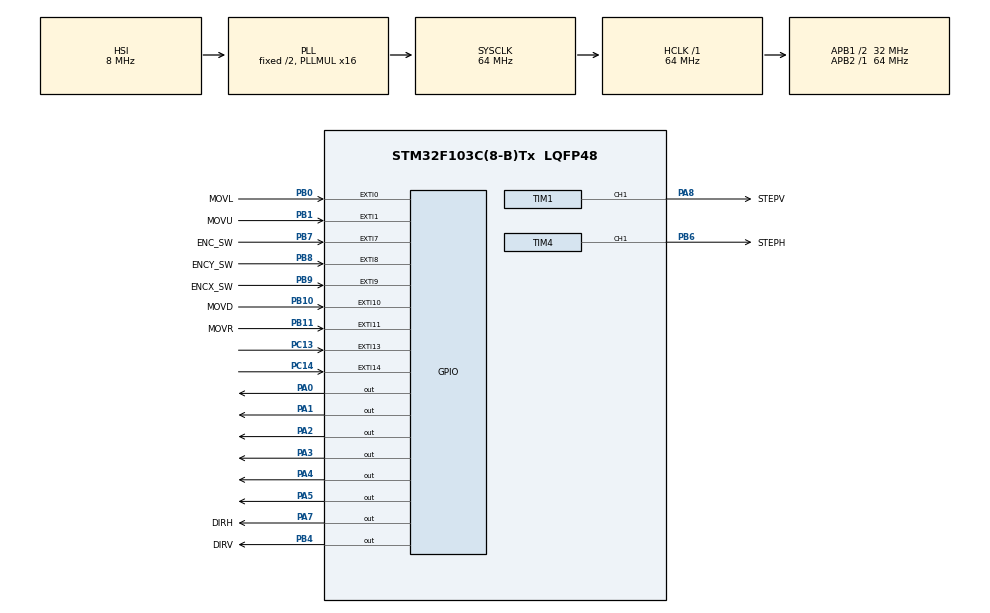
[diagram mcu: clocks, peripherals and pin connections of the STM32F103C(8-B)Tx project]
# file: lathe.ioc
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Mcu.Family=STM32F1
Mcu.Name=STM32F103C(8-B)Tx
Mcu.Package=LQFP48
NVIC.EXTI0_IRQn=true\:0\:0\:false\:false\:true\:true
NVIC.EXTI15_10_IRQn=true\:0\:0\:false\:false\:true\:true
NVIC.EXTI1_IRQn=true\:0\:0\:false\:false\:true\:true
NVIC.EXTI9_5_IRQn=true\:0\:0\:false\:false\:true\:true
NVIC.PriorityGroup=NVIC_PRIORITYGROUP_4
NVIC.TIM1_UP_IRQn=true\:0\:0\:false\:false\:true\:true
PA0-WKUP.GPIO_Speed=GPIO_SPEED_FREQ_LOW
PA0-WKUP.PinState=GPIO_PIN_RESET
PA0-WKUP.Signal=GPIO_Output
PA1.GPIO_Speed=GPIO_SPEED_FREQ_LOW
PA1.PinState=GPIO_PIN_RESET
PA1.Signal=GPIO_Output
PA13.Mode=JTAG_4_pins
PA13.Signal=SYS_JTMS-SWDIO
PA14.Mode=JTAG_4_pins
PA14.Signal=SYS_JTCK-SWCLK
PA15.Mode=JTAG_4_pins
PA15.Signal=SYS_JTDI
PA2.GPIO_Speed=GPIO_SPEED_FREQ_LOW
PA2.PinState=GPIO_PIN_RESET
PA2.Signal=GPIO_Output
PA3.GPIO_Speed=GPIO_SPEED_FREQ_LOW
PA3.PinState=GPIO_PIN_RESET
PA3.Signal=GPIO_Output
PA4.GPIO_Speed=GPIO_SPEED_FREQ_LOW
PA4.PinState=GPIO_PIN_RESET
PA4.Signal=GPIO_Output
PA5.GPIO_ModeDefaultOutputPP=GPIO_MODE_OUTPUT_PP
PA5.GPIO_PuPd=GPIO_NOPULL
PA5.GPIO_Speed=GPIO_SPEED_FREQ_LOW
PA5.PinState=GPIO_PIN_RESET
PA5.Signal=GPIO_Output
PA7.GPIO_Label=DIRH
PA7.GPIO_ModeDefaultOutputPP=GPIO_MODE_OUTPUT_PP
PA7.GPIO_PuPd=GPIO_NOPULL
PA7.GPIO_Speed=GPIO_SPEED_FREQ_HIGH
PA7.PinState=GPIO_PIN_RESET
PA7.Signal=GPIO_Output
PA8.GPIO_Label=STEPV
PA8.GPIO_Speed=GPIO_SPEED_FREQ_HIGH
PA8.Signal=S_TIM1_CH1
PB0.GPIO_Label=MOVL
PB0.GPIO_ModeDefaultEXTI=GPIO_MODE_IT_RISING_FALLING
PB0.GPIO_PuPd=GPIO_PULLUP
PB0.Signal=GPXTI0
PB1.GPIO_Label=MOVU
PB1.GPIO_ModeDefaultEXTI=GPIO_MODE_IT_RISING_FALLING
PB1.GPIO_PuPd=GPIO_PULLUP
PB1.Signal=GPXTI1
PB10.GPIO_Label=MOVD
PB10.GPIO_ModeDefaultEXTI=GPIO_MODE_IT_RISING_FALLING
PB10.GPIO_PuPd=GPIO_PULLUP
PB10.Signal=GPXTI10
PB11.GPIO_Label=MOVR
PB11.GPIO_ModeDefaultEXTI=GPIO_MODE_IT_RISING_FALLING
PB11.GPIO_PuPd=GPIO_PULLUP
PB11.Signal=GPXTI11
PB3.Mode=JTAG_4_pins
PB3.Signal=SYS_JTDO-TRACESWO
PB4.GPIO_Label=DIRV
PB4.GPIO_ModeDefaultOutputPP=GPIO_MODE_OUTPUT_PP
PB4.GPIO_PuPd=GPIO_NOPULL
PB4.GPIO_Speed=GPIO_SPEED_FREQ_HIGH
PB4.PinState=GPIO_PIN_RESET
PB4.Signal=GPIO_Output
PB6.GPIO_Label=STEPH
PB6.GPIO_Speed=GPIO_SPEED_FREQ_HIGH
PB6.Signal=S_TIM4_CH1
PB7.GPIO_Label=ENC_SW
PB7.GPIO_ModeDefaultEXTI=GPIO_MODE_IT_FALLING
PB7.GPIO_PuPd=GPIO_PULLUP
PB7.Signal=GPXTI7
PB8.GPIO_Label=ENCY_SW
PB8.GPIO_ModeDefaultEXTI=GPIO_MODE_IT_FALLING
PB8.GPIO_PuPd=GPIO_PULLUP
PB8.Signal=GPXTI8
PB9.GPIO_Label=ENCX_SW
PB9.GPIO_ModeDefaultEXTI=GPIO_MODE_IT_FALLING
PB9.GPIO_PuPd=GPIO_PULLUP
PB9.Signal=GPXTI9
PC13-TAMPER-RTC.GPIO_ModeDefaultEXTI=GPIO_MODE_IT_FALLING
PC13-TAMPER-RTC.GPIO_PuPd=GPIO_PULLUP
PC13-TAMPER-RTC.Signal=GPXTI13
PC14-OSC32_IN.GPIO_ModeDefaultEXTI=GPIO_MODE_IT_FALLING
PC14-OSC32_IN.GPIO_PuPd=GPIO_PULLUP
PC14-OSC32_IN.Signal=GPXTI14
ProjectManager.HeapSize=0x200
ProjectManager.StackSize=0x400
ProjectManager.TargetToolchain=Makefile
RCC.AHBFreq_Value=64000000
RCC.APB1CLKDivider=RCC_HCLK_DIV2
RCC.APB1Freq_Value=32000000
RCC.APB1TimFreq_Value=64000000
RCC.APB2Freq_Value=64000000
RCC.APB2TimFreq_Value=64000000
RCC.HCLKFreq_Value=64000000
RCC.PLLMUL=RCC_PLL_MUL16
RCC.SYSCLKFreq_VALUE=64000000
RCC.SYSCLKSource=RCC_SYSCLKSOURCE_PLLCLK
RCC.USBFreq_Value=64000000
SH.S_TIM1_CH1.0=TIM1_CH1,PWM Generation1 CH1
SH.S_TIM4_CH1.0=TIM4_CH1,PWM Generation1 CH1
TIM1.AutoReloadPreload=TIM_AUTORELOAD_PRELOAD_ENABLE
TIM1.Channel-PWM\ Generation1\ CH1=TIM_CHANNEL_1
TIM1.ClockDivision=TIM_CLOCKDIVISION_DIV4
TIM1.OCFastMode_PWM-PWM\ Generation1\ CH1=TIM_OCFAST_DISABLE
TIM1.OCMode_PWM-PWM\ Generation1\ CH1=TIM_OCMODE_PWM1
TIM1.Period=60000
TIM1.Prescaler=1
TIM1.Pulse-PWM\ Generation1\ CH1=30000
TIM1.RepetitionCounter=10
TIM4.AutoReloadPreload=TIM_AUTORELOAD_PRELOAD_ENABLE
TIM4.Channel-PWM\ Generation1\ CH1=TIM_CHANNEL_1
TIM4.ClockDivision=TIM_CLOCKDIVISION_DIV4
TIM4.OCPolarity_1=TIM_OCPOLARITY_LOW
TIM4.Period=60000
TIM4.Prescaler=1
TIM4.Pulse-PWM\ Generation1\ CH1=30000
TIM4.TIM_MasterOutputTrigger=TIM_TRGO_RESET
VP_RTC_No_RTC_Output.Mode=RTC_OUT_NO
VP_RTC_VS_RTC_Activate.Mode=RTC_Enabled
VP_TIM1_VS_ClockSourceINT.Mode=Internal
VP_TIM4_VS_ClockSourceINT.Mode=Internal
board=custom

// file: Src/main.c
/**
  ******************************************************************************
  * @file           : main.c
  * @brief          : Main program body
  ******************************************************************************
  ** This notice applies to any and all portions of this file
  * that are not between comment pairs USER CODE BEGIN and
  * USER CODE END. Other portions of this file, whether
  * inserted by the user or by software development tools
  * are owned by their respective copyright owners.
  *
  * COPYRIGHT(c) 2018 STMicroelectronics
  *
  * Redistribution and use in source and binary forms, with or without modification,
  * are permitted provided that the following conditions are met:
  *   1. Redistributions of source code must retain the above copyright notice,
  *      this list of conditions and the following disclaimer.
  *   2. Redistributions in binary form must reproduce the above copyright notice,
  *      this list of conditions and the following disclaimer in the documentation
  *      and/or other materials provided with the distribution.
  *   3. Neither the name of STMicroelectronics nor the names of its contributors
  *      may be used to endorse or promote products derived from this software
  *      without specific prior written permission.
  *
  * THIS SOFTWARE IS PROVIDED BY THE COPYRIGHT HOLDERS AND CONTRIBUTORS "AS IS"
  * AND ANY EXPRESS OR IMPLIED WARRANTIES, INCLUDING, BUT NOT LIMITED TO, THE
  * IMPLIED WARRANTIES OF MERCHANTABILITY AND FITNESS FOR A PARTICULAR PURPOSE ARE
  * DISCLAIMED. IN NO EVENT SHALL THE COPYRIGHT HOLDER OR CONTRIBUTORS BE LIABLE
  * FOR ANY DIRECT, INDIRECT, INCIDENTAL, SPECIAL, EXEMPLARY, OR CONSEQUENTIAL
  * DAMAGES (INCLUDING, BUT NOT LIMITED TO, PROCUREMENT OF SUBSTITUTE GOODS OR
  * SERVICES; LOSS OF USE, DATA, OR PROFITS; OR BUSINESS INTERRUPTION) HOWEVER
  * CAUSED AND ON ANY THEORY OF LIABILITY, WHETHER IN CONTRACT, STRICT LIABILITY,
  * OR TORT (INCLUDING NEGLIGENCE OR OTHERWISE) ARISING IN ANY WAY OUT OF THE USE
  * OF THIS SOFTWARE, EVEN IF ADVISED OF THE POSSIBILITY OF SUCH DAMAGE.
  *
  ******************************************************************************
  */
#include "main.h"
#include "stm32f1xx_hal.h"
#include "rtc.h"
#include "tim.h"
#include "gpio.h"

/* USER CODE BEGIN Includes */

#include "encoder.h"
#include "hd44780.h"
#include <stdbool.h>
#include <string.h>
#include <stdint.h>
#include "lathe.h"

/* USER CODE END Includes */

/* USER CODE BEGIN PV */
/* Private variables ---------------------------------------------------------*/

/* USER CODE END PV */

void SystemClock_Config(void);

/* USER CODE BEGIN PFP */
/* Private function prototypes -----------------------------------------------*/

/* USER CODE END PFP */

/* USER CODE BEGIN 0 */

volatile int posx = 0;
volatile int posy = 0;
volatile int clicks = 0;
volatile bool lcd_refresh_request = false;
volatile bool x_axis_running = false;
volatile bool update_x_axis_pwm_request = false;
char line1[16];
char line2[16];

void encoder_x_event_handler(struct encoder_s *p_encoder, encoder_event_t event) {

	if(event == ENCODER_PUSH) {
		clicks++;
		x_axis_running = !x_axis_running;
		update_x_axis_pwm_request = true;
	} else if(event == ENCODER_FORWARD) {
		posx++;
	} else if(event == ENCODER_BACKWARD) {
		posx--;
	} else {
		return;
	}

	memset(line1, 0, sizeof(line1));
	memset(line2, 0, sizeof(line2));
	sprintf(line1, "X: %d, Y:%d", posx, posy);
	sprintf(line2, "CLK: %d", clicks);
	lcd_refresh_request = true;
}

encoder_t encoder_x = {
		.port_a = GPIOC,
		.pin_a = GPIO_PIN_14,
		.port_b = GPIOB,
		.pin_b = GPIO_PIN_1,
		.port_btn = GPIOC,
		.pin_btn = GPIO_PIN_13,
		.event_handler = encoder_x_event_handler,
};

lathe_t lathe = {
		.p_timer_x = &htim1,
		.p_timer_y = &htim4,
		.x_moving = false,
		.y_moving = false,
		.speed_x = 0,
		.speed_y = 0,
};

extern TIM_HandleTypeDef htim1;

/* USER CODE END 0 */

int main(void)
{

  /* MCU Configuration----------------------------------------------------------*/

  /* Reset of all peripherals, Initializes the Flash interface and the Systick. */
  HAL_Init();

  /* Configure the system clock */
  SystemClock_Config();

  /* Initialize all configured peripherals */
  MX_GPIO_Init();
  MX_RTC_Init();
  MX_TIM1_Init();
  MX_TIM4_Init();
  /* USER CODE BEGIN 2 */

  lcd_reset();
  lcd_clear();
  lcd_display_settings(1, 0, 0);
  lcd_write('A', 1);
  lcd_display_address(0x00);
  lcd_print("TEST");

  /* USER CODE END 2 */

  /* Infinite loop */
  /* USER CODE BEGIN WHILE */
  while (1)
  {
	  if(lcd_refresh_request) {
		  sprintf(&(line1[0]), "SPD: %d, %d", lathe.speed_x, lathe.speed_y);
		  lcd_refresh_request = false;
		  lcd_clear();
		  lcd_display_address(0x00);
		  lcd_print(line1);
		  lcd_display_address(0x40);
		  lcd_print(line2);
	  }

  /* USER CODE END WHILE */

  }

}

void SystemClock_Config(void)
{

  RCC_OscInitTypeDef RCC_OscInitStruct;
  RCC_ClkInitTypeDef RCC_ClkInitStruct;
  RCC_PeriphCLKInitTypeDef PeriphClkInit;

    /**Initializes the CPU, AHB and APB busses clocks
    */
  RCC_OscInitStruct.OscillatorType = RCC_OSCILLATORTYPE_HSI|RCC_OSCILLATORTYPE_LSI;
  RCC_OscInitStruct.HSIState = RCC_HSI_ON;
  RCC_OscInitStruct.HSICalibrationValue = 16;
  RCC_OscInitStruct.LSIState = RCC_LSI_ON;
  RCC_OscInitStruct.PLL.PLLState = RCC_PLL_ON;
  RCC_OscInitStruct.PLL.PLLSource = RCC_PLLSOURCE_HSI_DIV2;
  RCC_OscInitStruct.PLL.PLLMUL = RCC_PLL_MUL16;
  if (HAL_RCC_OscConfig(&RCC_OscInitStruct) != HAL_OK)
  {
    _Error_Handler(__FILE__, __LINE__);
  }

    /**Initializes the CPU, AHB and APB busses clocks
    */
  RCC_ClkInitStruct.ClockType = RCC_CLOCKTYPE_HCLK|RCC_CLOCKTYPE_SYSCLK
                              |RCC_CLOCKTYPE_PCLK1|RCC_CLOCKTYPE_PCLK2;
  RCC_ClkInitStruct.SYSCLKSource = RCC_SYSCLKSOURCE_PLLCLK;
  RCC_ClkInitStruct.AHBCLKDivider = RCC_SYSCLK_DIV1;
  RCC_ClkInitStruct.APB1CLKDivider = RCC_HCLK_DIV2;
  RCC_ClkInitStruct.APB2CLKDivider = RCC_HCLK_DIV1;

  if (HAL_RCC_ClockConfig(&RCC_ClkInitStruct, FLASH_LATENCY_2) != HAL_OK)
  {
    _Error_Handler(__FILE__, __LINE__);
  }

  PeriphClkInit.PeriphClockSelection = RCC_PERIPHCLK_RTC;
  PeriphClkInit.RTCClockSelection = RCC_RTCCLKSOURCE_LSI;
  if (HAL_RCCEx_PeriphCLKConfig(&PeriphClkInit) != HAL_OK)
  {
    _Error_Handler(__FILE__, __LINE__);
  }

    /**Configure the Systick interrupt time
    */
  HAL_SYSTICK_Config(HAL_RCC_GetHCLKFreq()/1000);

    /**Configure the Systick
    */
  HAL_SYSTICK_CLKSourceConfig(SYSTICK_CLKSOURCE_HCLK);

  /* SysTick_IRQn interrupt configuration */
  HAL_NVIC_SetPriority(SysTick_IRQn, 0, 0);
}

void _Error_Handler(char *file, int line)
{
  while(1)
  {
  }
}

/************************ (C) COPYRIGHT STMicroelectronics *****END OF FILE****/
